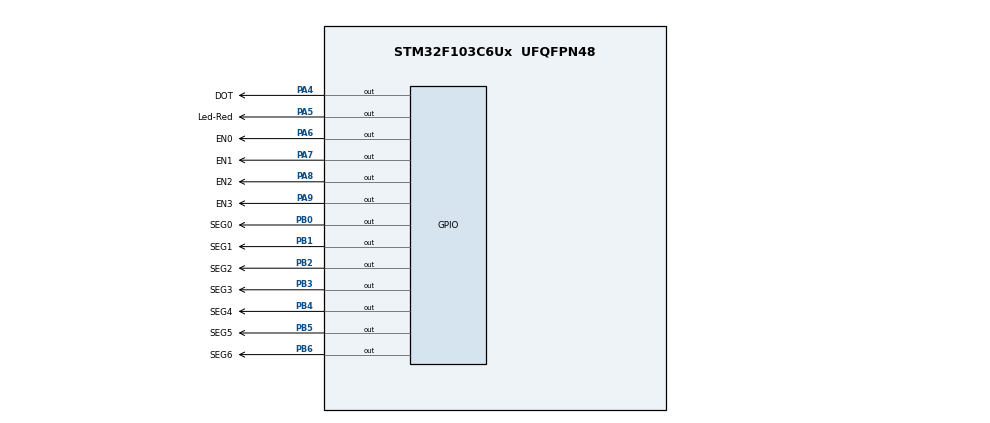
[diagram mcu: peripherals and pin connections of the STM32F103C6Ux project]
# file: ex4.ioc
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Mcu.Family=STM32F1
Mcu.Name=STM32F103C6Ux
Mcu.Package=UFQFPN48
NVIC.PriorityGroup=NVIC_PRIORITYGROUP_4
NVIC.TIM2_IRQn=true\:0\:0\:false\:false\:true\:true\:true
PA4.GPIO_Label=DOT
PA4.Signal=GPIO_Output
PA5.GPIO_Label=Led-Red
PA5.Signal=GPIO_Output
PA6.GPIO_Label=EN0
PA6.Signal=GPIO_Output
PA7.GPIO_Label=EN1
PA7.Signal=GPIO_Output
PA8.GPIO_Label=EN2
PA8.Signal=GPIO_Output
PA9.GPIO_Label=EN3
PA9.Signal=GPIO_Output
PB0.GPIO_Label=SEG0
PB0.Signal=GPIO_Output
PB1.GPIO_Label=SEG1
PB1.Signal=GPIO_Output
PB2.GPIO_Label=SEG2
PB2.Signal=GPIO_Output
PB3.GPIO_Label=SEG3
PB3.Signal=GPIO_Output
PB4.GPIO_Label=SEG4
PB4.Signal=GPIO_Output
PB5.GPIO_Label=SEG5
PB5.Signal=GPIO_Output
PB6.GPIO_Label=SEG6
PB6.Signal=GPIO_Output
ProjectManager.HeapSize=0x200
ProjectManager.StackSize=0x400
ProjectManager.TargetToolchain=STM32CubeIDE
RCC.APB1Freq_Value=8000000
RCC.APB2Freq_Value=8000000
TIM2.Period=9
TIM2.Prescaler=7999
VP_SYS_VS_ND.Mode=No_Debug
VP_TIM2_VS_ClockSourceINT.Mode=Internal
board=custom

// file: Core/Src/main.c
/* USER CODE BEGIN Header */
/**
  ******************************************************************************
  * @file           : main.c
  * @brief          : Main program body
  ******************************************************************************
  * @attention
  *
  * <h2><center>&copy; Copyright (c) 2026 STMicroelectronics.
  * All rights reserved.</center></h2>
  *
  * This software component is licensed by ST under BSD 3-Clause license,
  * the "License"; You may not use this file except in compliance with the
  * License. You may obtain a copy of the License at:
  *                        opensource.org/licenses/BSD-3-Clause
  *
  ******************************************************************************
  */
/* USER CODE END Header */
#include "main.h"

/* USER CODE BEGIN PD */

#define DISPLAY_SWITCH_TICKS    25   // 50 x 10ms = 500ms per digit
#define LED_BLINK_TICKS         100  // 100 x 10ms = 1s DOT toggle
#define MAX_LED                 4

/* USER CODE END PD */

TIM_HandleTypeDef htim2;

/* USER CODE BEGIN PV */

uint16_t displayCounter = 0;
uint16_t ledCounter = 0;

int index_led = 0;
int led_buffer[MAX_LED] = {1, 2, 3, 0};  // "12:30" test values, same as Ex2;
                                          // change freely to unit-test update7SEG

/* USER CODE END PV */

void SystemClock_Config(void);
static void MX_GPIO_Init(void);
static void MX_TIM2_Init(void);
/* USER CODE BEGIN PFP */

void display7SEG(uint8_t num);
void turnOffAll7SEG(void);
void update7SEG(int index);

/* USER CODE END PFP */

/* USER CODE BEGIN 0 */

void display7SEG(uint8_t num)
{
    const uint8_t segment[10][7] =
    {
        {1, 1, 1, 1, 1, 1, 0},
        {0, 1, 1, 0, 0, 0, 0},
        {1, 1, 0, 1, 1, 0, 1},
        {1, 1, 1, 1, 0, 0, 1},
        {0, 1, 1, 0, 0, 1, 1},
        {1, 0, 1, 1, 0, 1, 1},
        {1, 0, 1, 1, 1, 1, 1},
        {1, 1, 1, 0, 0, 0, 0},
        {1, 1, 1, 1, 1, 1, 1},
        {1, 1, 1, 1, 0, 1, 1}
    };

    if (num > 9)
    {
        return;
    }

    HAL_GPIO_WritePin(SEG0_GPIO_Port, SEG0_Pin,
                      segment[num][0] ? GPIO_PIN_RESET : GPIO_PIN_SET);

    HAL_GPIO_WritePin(SEG1_GPIO_Port, SEG1_Pin,
                      segment[num][1] ? GPIO_PIN_RESET : GPIO_PIN_SET);

    HAL_GPIO_WritePin(SEG2_GPIO_Port, SEG2_Pin,
                      segment[num][2] ? GPIO_PIN_RESET : GPIO_PIN_SET);

    HAL_GPIO_WritePin(SEG3_GPIO_Port, SEG3_Pin,
                      segment[num][3] ? GPIO_PIN_RESET : GPIO_PIN_SET);

    HAL_GPIO_WritePin(SEG4_GPIO_Port, SEG4_Pin,
                      segment[num][4] ? GPIO_PIN_RESET : GPIO_PIN_SET);

    HAL_GPIO_WritePin(SEG5_GPIO_Port, SEG5_Pin,
                      segment[num][5] ? GPIO_PIN_RESET : GPIO_PIN_SET);

    HAL_GPIO_WritePin(SEG6_GPIO_Port, SEG6_Pin,
                      segment[num][6] ? GPIO_PIN_RESET : GPIO_PIN_SET);
}

void turnOffAll7SEG(void)
{
    HAL_GPIO_WritePin(EN0_GPIO_Port, EN0_Pin, GPIO_PIN_SET);
    HAL_GPIO_WritePin(EN1_GPIO_Port, EN1_Pin, GPIO_PIN_SET);
    HAL_GPIO_WritePin(EN2_GPIO_Port, EN2_Pin, GPIO_PIN_SET);
    HAL_GPIO_WritePin(EN3_GPIO_Port, EN3_Pin, GPIO_PIN_SET);
}

/* Display led_buffer[index] on the (index)th 7SEG, enabling only that digit. */
void update7SEG(int index)
{
    turnOffAll7SEG();

    switch (index)
    {
        case 0:
            display7SEG(led_buffer[0]);
            HAL_GPIO_WritePin(EN0_GPIO_Port, EN0_Pin, GPIO_PIN_RESET);
            break;

        case 1:
            display7SEG(led_buffer[1]);
            HAL_GPIO_WritePin(EN1_GPIO_Port, EN1_Pin, GPIO_PIN_RESET);
            break;

        case 2:
            display7SEG(led_buffer[2]);
            HAL_GPIO_WritePin(EN2_GPIO_Port, EN2_Pin, GPIO_PIN_RESET);
            break;

        case 3:
            display7SEG(led_buffer[3]);
            HAL_GPIO_WritePin(EN3_GPIO_Port, EN3_Pin, GPIO_PIN_RESET);
            break;

        default:
            break;
    }
}

/* USER CODE END 0 */

int main(void)
{

  /* MCU Configuration--------------------------------------------------------*/

  /* Reset of all peripherals, Initializes the Flash interface and the Systick. */
  HAL_Init();

  /* Configure the system clock */
  SystemClock_Config();

  /* Initialize all configured peripherals */
  MX_GPIO_Init();
  MX_TIM2_Init();
  /* USER CODE BEGIN 2 */

  update7SEG(index_led);   // show led_buffer[0] on digit 0 immediately
  HAL_TIM_Base_Start_IT(&htim2);

  /* USER CODE END 2 */

  /* Infinite loop */
  while (1)
  {

  }
}

void SystemClock_Config(void)
{
  RCC_OscInitTypeDef RCC_OscInitStruct = {0};
  RCC_ClkInitTypeDef RCC_ClkInitStruct = {0};

  /** Initializes the RCC Oscillators according to the specified parameters
  * in the RCC_OscInitTypeDef structure.
  */
  RCC_OscInitStruct.OscillatorType = RCC_OSCILLATORTYPE_HSI;
  RCC_OscInitStruct.HSIState = RCC_HSI_ON;
  RCC_OscInitStruct.HSICalibrationValue = RCC_HSICALIBRATION_DEFAULT;
  RCC_OscInitStruct.PLL.PLLState = RCC_PLL_NONE;
  if (HAL_RCC_OscConfig(&RCC_OscInitStruct) != HAL_OK)
  {
    Error_Handler();
  }
  /** Initializes the CPU, AHB and APB buses clocks
  */
  RCC_ClkInitStruct.ClockType = RCC_CLOCKTYPE_HCLK|RCC_CLOCKTYPE_SYSCLK
                              |RCC_CLOCKTYPE_PCLK1|RCC_CLOCKTYPE_PCLK2;
  RCC_ClkInitStruct.SYSCLKSource = RCC_SYSCLKSOURCE_HSI;
  RCC_ClkInitStruct.AHBCLKDivider = RCC_SYSCLK_DIV1;
  RCC_ClkInitStruct.APB1CLKDivider = RCC_HCLK_DIV1;
  RCC_ClkInitStruct.APB2CLKDivider = RCC_HCLK_DIV1;

  if (HAL_RCC_ClockConfig(&RCC_ClkInitStruct, FLASH_LATENCY_0) != HAL_OK)
  {
    Error_Handler();
  }
}

static void MX_TIM2_Init(void)
{

  TIM_ClockConfigTypeDef sClockSourceConfig = {0};
  TIM_MasterConfigTypeDef sMasterConfig = {0};

  htim2.Instance = TIM2;
  htim2.Init.Prescaler = 7999;
  htim2.Init.CounterMode = TIM_COUNTERMODE_UP;
  htim2.Init.Period = 9;
  htim2.Init.ClockDivision = TIM_CLOCKDIVISION_DIV1;
  htim2.Init.AutoReloadPreload = TIM_AUTORELOAD_PRELOAD_DISABLE;
  if (HAL_TIM_Base_Init(&htim2) != HAL_OK)
  {
    Error_Handler();
  }
  sClockSourceConfig.ClockSource = TIM_CLOCKSOURCE_INTERNAL;
  if (HAL_TIM_ConfigClockSource(&htim2, &sClockSourceConfig) != HAL_OK)
  {
    Error_Handler();
  }
  sMasterConfig.MasterOutputTrigger = TIM_TRGO_RESET;
  sMasterConfig.MasterSlaveMode = TIM_MASTERSLAVEMODE_DISABLE;
  if (HAL_TIMEx_MasterConfigSynchronization(&htim2, &sMasterConfig) != HAL_OK)
  {
    Error_Handler();
  }

}

static void MX_GPIO_Init(void)
{
  GPIO_InitTypeDef GPIO_InitStruct = {0};

  /* GPIO Ports Clock Enable */
  __HAL_RCC_GPIOA_CLK_ENABLE();
  __HAL_RCC_GPIOB_CLK_ENABLE();

  /*Configure GPIO pin Output Level */
  HAL_GPIO_WritePin(GPIOA, DOT_Pin|Led_Red_Pin|EN0_Pin|EN1_Pin
                          |EN2_Pin|EN3_Pin, GPIO_PIN_RESET);

  /*Configure GPIO pin Output Level */
  HAL_GPIO_WritePin(GPIOB, SEG0_Pin|SEG1_Pin|SEG2_Pin|SEG3_Pin
                          |SEG4_Pin|SEG5_Pin|SEG6_Pin, GPIO_PIN_RESET);

  /*Configure GPIO pins : DOT_Pin Led_Red_Pin EN0_Pin EN1_Pin
                           EN2_Pin EN3_Pin */
  GPIO_InitStruct.Pin = DOT_Pin|Led_Red_Pin|EN0_Pin|EN1_Pin
                          |EN2_Pin|EN3_Pin;
  GPIO_InitStruct.Mode = GPIO_MODE_OUTPUT_PP;
  GPIO_InitStruct.Pull = GPIO_NOPULL;
  GPIO_InitStruct.Speed = GPIO_SPEED_FREQ_LOW;
  HAL_GPIO_Init(GPIOA, &GPIO_InitStruct);

  /*Configure GPIO pins : SEG0_Pin SEG1_Pin SEG2_Pin SEG3_Pin
                           SEG4_Pin SEG5_Pin SEG6_Pin */
  GPIO_InitStruct.Pin = SEG0_Pin|SEG1_Pin|SEG2_Pin|SEG3_Pin
                          |SEG4_Pin|SEG5_Pin|SEG6_Pin;
  GPIO_InitStruct.Mode = GPIO_MODE_OUTPUT_PP;
  GPIO_InitStruct.Pull = GPIO_NOPULL;
  GPIO_InitStruct.Speed = GPIO_SPEED_FREQ_LOW;
  HAL_GPIO_Init(GPIOB, &GPIO_InitStruct);

}

/* USER CODE BEGIN 4 */

void HAL_TIM_PeriodElapsedCallback(TIM_HandleTypeDef *htim)
{
    if (htim->Instance == TIM2)
    {
        displayCounter++;

        if (displayCounter >= DISPLAY_SWITCH_TICKS)
        {
            displayCounter = 0;

            update7SEG(index_led++);

            if (index_led >= MAX_LED)
            {
                index_led = 0;
            }
        }

        ledCounter++;

        if (ledCounter >= LED_BLINK_TICKS)
        {
            ledCounter = 0;

            HAL_GPIO_TogglePin(DOT_GPIO_Port, DOT_Pin);
        }
    }
}

/* USER CODE END 4 */

void Error_Handler(void)
{
  __disable_irq();
  while (1)
  {
  }
}

/************************ (C) COPYRIGHT STMicroelectronics *****END OF FILE****/
